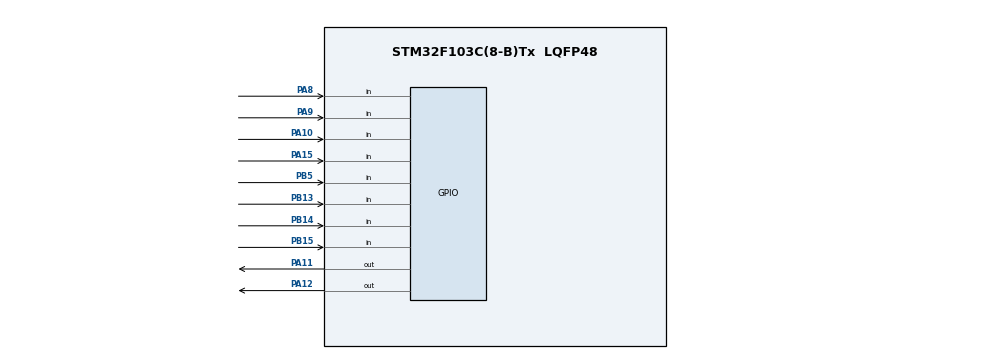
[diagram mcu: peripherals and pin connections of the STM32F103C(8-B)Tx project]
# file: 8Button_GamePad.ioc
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Mcu.Family=STM32F1
Mcu.Name=STM32F103C(8-B)Tx
Mcu.Package=LQFP48
NVIC.PriorityGroup=NVIC_PRIORITYGROUP_4
PA10.GPIO_PuPd=GPIO_PULLUP
PA10.Signal=GPIO_Input
PA11.Signal=GPIO_Output
PA12.Signal=GPIO_Output
PA13.Mode=Serial_Wire
PA13.Signal=SYS_JTMS-SWDIO
PA14.Mode=Serial_Wire
PA14.Signal=SYS_JTCK-SWCLK
PA15.GPIO_PuPd=GPIO_PULLUP
PA15.Signal=GPIO_Input
PA8.GPIO_PuPd=GPIO_PULLUP
PA8.Signal=GPIO_Input
PA9.GPIO_PuPd=GPIO_PULLUP
PA9.Signal=GPIO_Input
PB13.GPIO_PuPd=GPIO_PULLUP
PB13.Signal=GPIO_Input
PB14.GPIO_PuPd=GPIO_PULLUP
PB14.Signal=GPIO_Input
PB15.GPIO_PuPd=GPIO_PULLUP
PB15.Signal=GPIO_Input
PB5.GPIO_PuPd=GPIO_PULLUP
PB5.Signal=GPIO_Input
ProjectManager.HeapSize=0x200
ProjectManager.StackSize=0x400
ProjectManager.TargetToolchain=STM32CubeIDE
RCC.APB1Freq_Value=8000000
RCC.APB2Freq_Value=8000000
board=custom

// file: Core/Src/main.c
/* USER CODE BEGIN Header */
/**
  ******************************************************************************
  * @file           : main.c
  * @brief          : Main program body
  ******************************************************************************
  * @attention
  *
  * Copyright (c) 2025 STMicroelectronics.
  * All rights reserved.
  *
  * This software is licensed under terms that can be found in the LICENSE file
  * in the root directory of this software component.
  * If no LICENSE file comes with this software, it is provided AS-IS.
  *
  ******************************************************************************
  */
/* USER CODE END Header */
#include "main.h"

/* USER CODE BEGIN PM */
// Button pin definitions
#define BTN1_PIN        GPIO_PIN_10
#define BTN1_PORT       GPIOA   // PA10

#define BTN2_PIN        GPIO_PIN_9
#define BTN2_PORT       GPIOA   // PA9

#define BTN3_PIN        GPIO_PIN_8
#define BTN3_PORT       GPIOA   // PA8

#define BTN4_PIN        GPIO_PIN_15
#define BTN4_PORT       GPIOB   // PB15

#define BTN5_PIN        GPIO_PIN_14
#define BTN5_PORT       GPIOB   // PB14

#define BTN6_PIN        GPIO_PIN_13
#define BTN6_PORT       GPIOB   // PB13

#define BTN_RIGHT_PIN        GPIO_PIN_5
#define BTN_RIGHT_PORT       GPIOB   // PB5

#define BTN_LEFT_PIN        GPIO_PIN_15
#define BTN_LEFT_PORT       GPIOA   // PB5
/* USER CODE END PM */

void SystemClock_Config(void);
static void MX_GPIO_Init(void);

int main(void)
{

  /* MCU Configuration--------------------------------------------------------*/

  /* Reset of all peripherals, Initializes the Flash interface and the Systick. */
  HAL_Init();

  /* Configure the system clock */
  SystemClock_Config();

  /* Initialize all configured peripherals */
  MX_GPIO_Init();

  /* Infinite loop */
  /* USER CODE BEGIN WHILE */
  while (1)
  {
	  if(!HAL_GPIO_ReadPin(BTN1_PORT, BTN1_PIN) || !HAL_GPIO_ReadPin(BTN2_PORT, BTN2_PIN) || !HAL_GPIO_ReadPin(BTN3_PORT, BTN3_PIN)
			  || !HAL_GPIO_ReadPin(BTN4_PORT, BTN4_PIN) || !HAL_GPIO_ReadPin(BTN5_PORT, BTN5_PIN) ||
			  !HAL_GPIO_ReadPin(BTN6_PORT, BTN6_PIN) || !HAL_GPIO_ReadPin(BTN_LEFT_PORT, BTN_LEFT_PIN) || !HAL_GPIO_ReadPin(BTN_RIGHT_PORT, BTN_RIGHT_PIN))
			  {
		  	  	  HAL_GPIO_TogglePin(GPIOA, GPIO_PIN_11);
			  }
	  if(!HAL_GPIO_ReadPin(BTN_LEFT_PORT, BTN_LEFT_PIN))
	  {
		  HAL_GPIO_TogglePin(GPIOA, GPIO_PIN_12);
	  }
    /* USER CODE END WHILE */

  }
}

void SystemClock_Config(void)
{
  RCC_OscInitTypeDef RCC_OscInitStruct = {0};
  RCC_ClkInitTypeDef RCC_ClkInitStruct = {0};

  /** Initializes the RCC Oscillators according to the specified parameters
  * in the RCC_OscInitTypeDef structure.
  */
  RCC_OscInitStruct.OscillatorType = RCC_OSCILLATORTYPE_HSI;
  RCC_OscInitStruct.HSIState = RCC_HSI_ON;
  RCC_OscInitStruct.HSICalibrationValue = RCC_HSICALIBRATION_DEFAULT;
  RCC_OscInitStruct.PLL.PLLState = RCC_PLL_NONE;
  if (HAL_RCC_OscConfig(&RCC_OscInitStruct) != HAL_OK)
  {
    Error_Handler();
  }

  /** Initializes the CPU, AHB and APB buses clocks
  */
  RCC_ClkInitStruct.ClockType = RCC_CLOCKTYPE_HCLK|RCC_CLOCKTYPE_SYSCLK
                              |RCC_CLOCKTYPE_PCLK1|RCC_CLOCKTYPE_PCLK2;
  RCC_ClkInitStruct.SYSCLKSource = RCC_SYSCLKSOURCE_HSI;
  RCC_ClkInitStruct.AHBCLKDivider = RCC_SYSCLK_DIV1;
  RCC_ClkInitStruct.APB1CLKDivider = RCC_HCLK_DIV1;
  RCC_ClkInitStruct.APB2CLKDivider = RCC_HCLK_DIV1;

  if (HAL_RCC_ClockConfig(&RCC_ClkInitStruct, FLASH_LATENCY_0) != HAL_OK)
  {
    Error_Handler();
  }
}

static void MX_GPIO_Init(void)
{
  GPIO_InitTypeDef GPIO_InitStruct = {0};

  /* GPIO Ports Clock Enable */
  __HAL_RCC_GPIOB_CLK_ENABLE();
  __HAL_RCC_GPIOA_CLK_ENABLE();

  /*Configure GPIO pin Output Level */
  HAL_GPIO_WritePin(GPIOA, GPIO_PIN_11|GPIO_PIN_12, GPIO_PIN_RESET);

  /*Configure GPIO pins : PB13 PB14 PB15 PB5 */
  GPIO_InitStruct.Pin = GPIO_PIN_13|GPIO_PIN_14|GPIO_PIN_15|GPIO_PIN_5;
  GPIO_InitStruct.Mode = GPIO_MODE_INPUT;
  GPIO_InitStruct.Pull = GPIO_PULLUP;
  HAL_GPIO_Init(GPIOB, &GPIO_InitStruct);

  /*Configure GPIO pins : PA8 PA9 PA10 PA15 */
  GPIO_InitStruct.Pin = GPIO_PIN_8|GPIO_PIN_9|GPIO_PIN_10|GPIO_PIN_15;
  GPIO_InitStruct.Mode = GPIO_MODE_INPUT;
  GPIO_InitStruct.Pull = GPIO_PULLUP;
  HAL_GPIO_Init(GPIOA, &GPIO_InitStruct);

  /*Configure GPIO pins : PA11 PA12 */
  GPIO_InitStruct.Pin = GPIO_PIN_11|GPIO_PIN_12;
  GPIO_InitStruct.Mode = GPIO_MODE_OUTPUT_PP;
  GPIO_InitStruct.Pull = GPIO_NOPULL;
  GPIO_InitStruct.Speed = GPIO_SPEED_FREQ_LOW;
  HAL_GPIO_Init(GPIOA, &GPIO_InitStruct);

}

void Error_Handler(void)
{
  __disable_irq();
  while (1)
  {
  }
}
